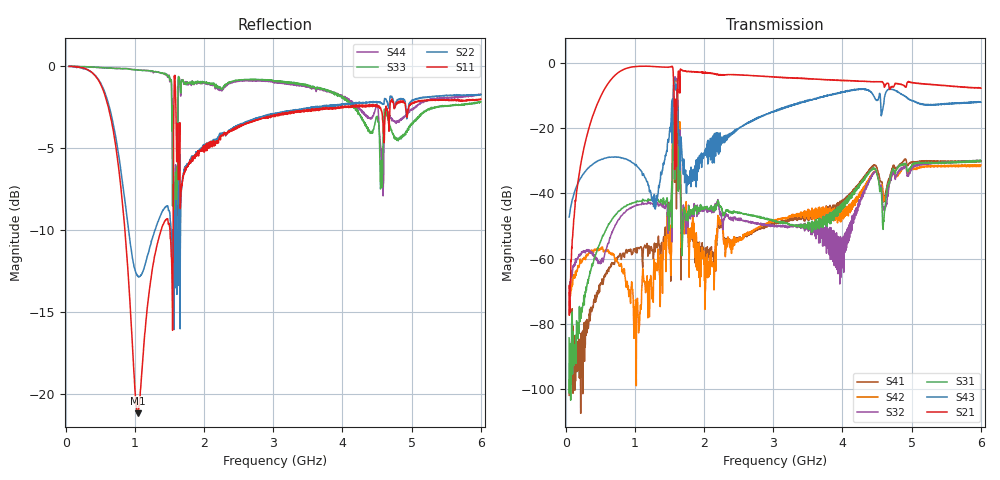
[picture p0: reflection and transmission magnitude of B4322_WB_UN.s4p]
! Matrix data file written by TouchstoneData, EPCOS AG
! FILENAME: "ansys_B4322_02_WB.s4p"
! COMMENT: "(B4322_02_WB.s4p) Epcos AG 2/21/2013 5:13:47"
! INFO: nport=4, nfreq=1601
! DATE: "Tue Mar 19 16:51:02 2013"
! USER: "Daniel Harbusch"
! port | pin | signal
!  1  |  3  |  NON-GPS/GLONASS out
!  2  |  6  |  ANT input
!  3  |  1  |  GPS/GLONASS balanced out
!  4  |  8  |  GPS/GLONASS balanced out
# MHZ S MA R 50
! freq  magS11 angS11  magS12 angS12  magS13 angS13  magS14 angS14  ...
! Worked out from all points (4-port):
!   1601 points, 50 MHz to 6 GHz, reference 50 ohm
!   strongest paths, dB at 50 MHz, 1.538 GHz, 3.025 GHz, 4.513 GHz, 6 GHz:
!     S21: -68.3, -1.0, -4.3, -5.7, -7.7
!     S43: -47.2, -24.4, -14.6, -11.3, -12.0
!     S31: -84.3, -50.5, -48.7, -35.4, -30.2
!     S32: -69.0, -54.9, -50.1, -35.3, -30.2
!     S42: -70.5, -45.5, -48.3, -34.6, -31.3
!     S41: -101.9, -44.1, -49.1, -33.2, -30.0
!   lowest |S11| = -21.2 dB at 1.043 GHz (marker M1), VSWR 1.19, Z = 52.8 + j8.56 ohm
!   |S11| at or under -10 dB: 856.3 MHz to 1.38 GHz (523.4 MHz wide, 46.8 % of centre); 1.507 GHz to 1.553 GHz (46.22 MHz wide, 3.02 % of centre)
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50  0.9967 -8.9  0.000396 151.3  3.673e-05 146.2  7.243e-05 13.8
    0.0003831 141.9  0.9984 -10.8  0.0003683 76.4  0.0002041 73.7
    6.083e-05 127.4  0.0003546 89.1  0.9986 -3.7  0.004368 83.4
    8.036e-06 87.9  0.0002991 85.7  0.004352 82.7  0.9976 -3.6
1042.906  0.08736 67.1  0.8905 54.5  0.007534 89.0  0.001514 -167.9
          0.8884 54.5  0.2293 -132.6  0.006563 72.5  0.0001964 -174.0
          0.007541 88.9  0.006574 72.5  0.9732 -69.9  0.02543 29.1
          0.00148 -168.0  0.0001635 -177.3  0.0254 29.1  0.9735 -67.3
1511.469  0.2979 -78.0  0.8717 -9.3  0.005309 5.8  0.001671 172.7
          0.8695 -9.2  0.3373 -129.4  0.004379 40.1  0.00132 175.6
          0.005335 6.1  0.004401 40.0  0.9061 -125.1  0.08829 130.0
          0.001711 173.4  0.001345 175.6  0.0882 130.0  0.9159 -122.5
1589.562  0.8013 -93.0  0.2795 14.2  0.1578 72.6  0.1418 -113.9
          0.2789 14.3  0.3344 -97.8  0.5639 30.3  0.5225 -149.8
          0.1577 72.7  0.5652 30.2  0.4746 -86.6  0.3857 -141.0
          0.1416 -113.7  0.5236 -149.7  0.386 -141.0  0.4999 -89.9
1697.406  0.462 -52.8  0.7633 19.9  0.003033 78.2  0.003987 78.3
          0.7618 20.0  0.4691 -86.2  0.005084 98.8  0.005395 17.0
          0.003037 78.4  0.005116 98.8  0.9047 -75.0  0.02953 49.5
          0.003986 78.5  0.005388 16.6  0.02952 49.6  0.8979 -70.8
2035.812  0.5809 -78.5  0.7111 -4.9  0.006148 25.6  0.001111 152.2
          0.7089 -4.7  0.5812 -113.5  0.005537 31.9  0.0006497 133.3
          0.006126 25.5  0.005587 31.7  0.89 -99.6  0.04851 129.2
          0.001136 153.1  0.0006476 132.6  0.04861 129.1  0.8846 -95.7
6000  0.7929 -176.5  0.4113 -86.7  0.03093 90.1  0.0318 87.3
      0.411 -86.2  0.8184 -179.8  0.03094 96.9  0.02734 90.2
      0.03086 90.4  0.03104 96.8  0.7773 -161.6  0.2513 88.0
      0.03174 87.8  0.02735 90.2  0.2511 88.1  0.8202 -173.0
